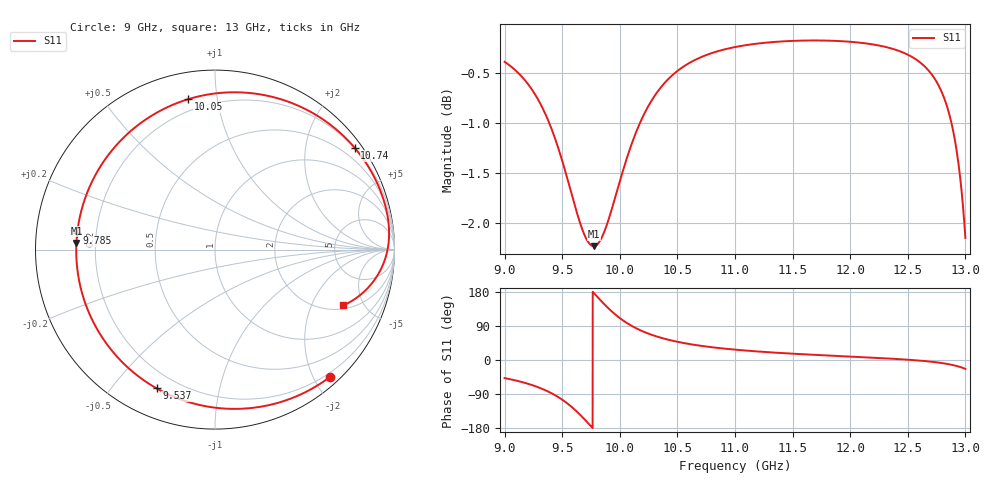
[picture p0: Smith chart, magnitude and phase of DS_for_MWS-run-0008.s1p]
! TOUCHSTONE file generated by CST DESIGN STUDIO
! Date and time: Wed Feb  5 13:27:53 2025
! Project name: C:\Work\MatlabApps\UnitCellOptimizationMatlab\CST\unitcell.cst
! Tree item: Tasks\Sweep1\SPara1\S-Parameters
! Header version: 2024
! Port assignment regex: !\s*Touchstone port\s*([0-9]+)\s*=\s*(CST MWS port|CST DES external port|CST DES block port)\s*(.+)\s* \(\"(.*)\"\)(\s*mode\s*([0-9]+))?.*
! Touchstone port assignment:
! Touchstone port 1 = CST DES external port 1 ("")
# GHz S MA R 50
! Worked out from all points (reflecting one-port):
!   4001 points, 9 GHz to 13 GHz, reference 50 ohm
!   lowest |S11| = -2.2 dB at 9.773 GHz (marker M1), VSWR 7.81, Z = 6.4 + j1.15 ohm
!   phase of S11 starts at -48 deg and turns -336 deg over the sweep
!   S11 on the Smith chart (normalised r, x): 9 GHz: 0.14, -2.25; 9.537 GHz: 0.13, -0.66; 9.785 GHz: 0.13, +0.06; 10.05 GHz: 0.14, +0.83; 10.74 GHz: 0.20, +3.06; 13 GHz: 2.20, -3.50
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9  0.956 -47.8
9.139  0.9412 -57.2
9.268  0.9201 -69.3
9.399  0.8875 -86.4
9.5  0.853 -104.7
9.537  0.8387 -112.9
9.605  0.8119 -130.0
9.673  0.7885 -149.9
9.724  0.777 -166.3
9.773  0.7731 177.3
9.785  0.7733 173.3
9.838  0.7797 155.8
9.898  0.7957 137.3
9.948  0.8133 123.4
10  0.833 110.7
10.049  0.8512 100.1
10.14  0.8811 84.1
10.258  0.9107 68.5
10.371  0.9305 57.5
10.5  0.946 48.1
10.738  0.9629 36.1
11  0.9724 27.3
11.5  0.9794 16.7
12  0.9784 9.0
12.5  0.9639 0.8
12.825  0.9138 -9.4
12.918  0.8673 -15.3
13  0.7804 -23.5
